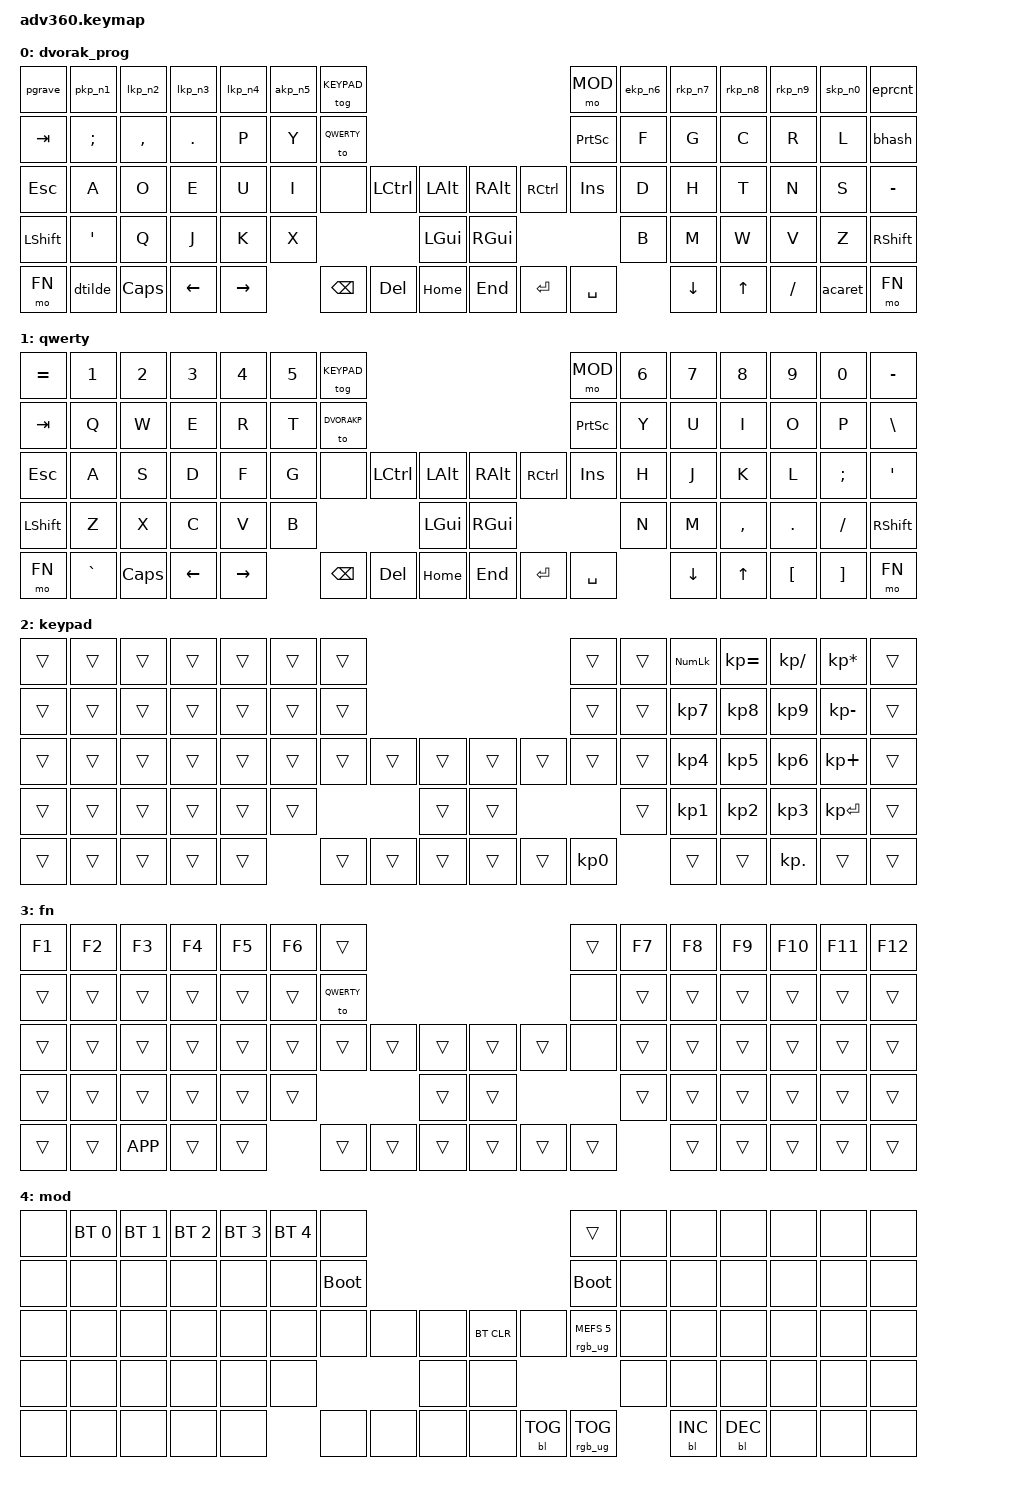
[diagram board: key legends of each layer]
#include <behaviors.dtsi>
#include <dt-bindings/zmk/keys.h>
#include <dt-bindings/zmk/bt.h>
#include <dt-bindings/zmk/rgb.h>
#include <dt-bindings/zmk/stp.h>
#include <dt-bindings/zmk/backlight.h>
#include <dt-bindings/zmk/pointing.h>

#define ______ &trans
#define xxxxxx &none

#define DVORAKP 0
#define QWERTY 1
#define KEYPAD 2
#define FN 3
#define MOD 4

/ {
    behaviors {
        #include "macros.dtsi"
        #include "version.dtsi"

        gpipe: grave_pipe {
            compatible = "zmk,behavior-mod-morph";
            label = "grave_pipe";
            #binding-cells = <0>;
            bindings = <&kp GRAVE>, <&kp PIPE>;
            mods = <(MOD_LGUI|MOD_LSFT|MOD_RGUI|MOD_RSFT)>;
        };
        pkp_n1: plus_kp_n1 {
            compatible = "zmk,behavior-mod-morph";
            label = "plus_kp_n1";
            #binding-cells = <0>;
            bindings = <&kp N1>, <&kp PLUS>;
            mods = <(MOD_LSFT|MOD_RSFT)>;
        };
        lkp_n2: left_bracket_kp_n2 {
            compatible = "zmk,behavior-mod-morph";
            label = "left_bracket_kp_n2";
            #binding-cells = <0>;
            bindings = <&kp N2>, <&kp LEFT_BRACKET>;
            mods = <(MOD_LSFT|MOD_RSFT)>;
        };
        lkp_n3: left_brace_kp_n3 {
            compatible = "zmk,behavior-mod-morph";
            label = "left_brace_kp_n3";
            #binding-cells = <0>;
            bindings =  <&kp N3>, <&kp LEFT_BRACE>;
            mods = <(MOD_LSFT|MOD_RSFT)>;
        };
        lkp_n4: left_parenthesis_kp_n4 {
            compatible = "zmk,behavior-mod-morph";
            label = "left_parenthesis_kp_n4";
            #binding-cells = <0>;
            bindings =  <&kp N4>, <&kp LEFT_PARENTHESIS>;
            mods = <(MOD_LSFT|MOD_RSFT)>;
        };
        akp_n5: amps_kp_n5 {
            compatible = "zmk,behavior-mod-morph";
            label = "amps_kp_n5";
            #binding-cells = <0>;
            bindings =  <&kp N5>, <&kp AMPS>;
            mods = <(MOD_LSFT|MOD_RSFT)>;
        };
        ekp_n6: equal_kp_n6 {
            compatible = "zmk,behavior-mod-morph";
            label = "equal_kp_n6";
            #binding-cells = <0>;
            bindings =  <&kp N6>, <&kp EQUAL>;
            mods = <(MOD_LSFT|MOD_RSFT)>;
        };
        rkp_n7: right_parenthesis_kp_n7 {
            compatible = "zmk,behavior-mod-morph";
            label = "right_parenthesis_kp_n7";
            #binding-cells = <0>;
            bindings = <&kp N7>, <&kp RIGHT_PARENTHESIS>;
            mods = <(MOD_LSFT|MOD_RSFT)>;
        };
        rkp_n8: right_brace_kp_n8 {
            compatible = "zmk,behavior-mod-morph";
            label = "right_brace_kp_n8";
            #binding-cells = <0>;
            bindings = <&kp N8>, <&kp RIGHT_BRACE>;
            mods = <(MOD_LSFT|MOD_RSFT)>;
        };
        rkp_n9: right_bracket_kp_n9 {
            compatible = "zmk,behavior-mod-morph";
            label = "right_bracket_kp_n9";
            #binding-cells = <0>;
            bindings = <&kp N9>, <&kp RIGHT_BRACKET>;
            mods = <(MOD_LSFT|MOD_RSFT)>;
        };
        skp_n0: star_kp_n0 {
            compatible = "zmk,behavior-mod-morph";
            label = "star_kp_n0";
            #binding-cells = <0>;
            bindings = <&kp N0>, <&kp STAR>;
            mods = <(MOD_LSFT|MOD_RSFT)>;
        };
        eprcnt: excl_prcnt {
            compatible = "zmk,behavior-mod-morph";
            label = "excl_prcnt";
            #binding-cells = <0>;
            bindings = <&kp EXCL>, <&kp PRCNT>;
            mods = <(MOD_LGUI|MOD_LSFT|MOD_RGUI|MOD_RSFT)>;
        };
        dgrave: dllr_grave {
            compatible = "zmk,behavior-mod-morph";
            label = "dllr_grave";
            #binding-cells = <0>;
            bindings = <&kp DLLR>, <&kp GRAVE>;
            mods = <(MOD_LGUI|MOD_LSFT|MOD_RGUI|MOD_RSFT)>;
        };
        dtilde: dllr_tilde {
            compatible = "zmk,behavior-mod-morph";
            label = "dllr_tilde";
            #binding-cells = <0>;
            bindings = <&kp DLLR>, <&kp TILDE>;
            mods = <(MOD_LGUI|MOD_LSFT|MOD_RGUI|MOD_RSFT)>;
        };
        ggrave: grave_grave {
            compatible = "zmk,behavior-mod-morph";
            label = "grave_grave";
            #binding-cells = <0>;
            bindings = <&kp GRAVE>, <&kp GRAVE>;
            mods = <(MOD_LGUI|MOD_LSFT|MOD_RGUI|MOD_RSFT)>;
        };
        pgrave: pipe_grave {
            compatible = "zmk,behavior-mod-morph";
            label = "pipe_grave";
            #binding-cells = <0>;
            bindings = <&kp PIPE>, <&kp GRAVE>;
            mods = <(MOD_LGUI|MOD_LSFT|MOD_RGUI|MOD_RSFT)>;
        };
        bhash: bslh_hash {
            compatible = "zmk,behavior-mod-morph";
            label = "bslh_hash";
            #binding-cells = <0>;
            bindings = <&kp BSLH>, <&kp HASH>;
            mods = <(MOD_LGUI|MOD_LSFT|MOD_RGUI|MOD_RSFT)>;
        };
        acaret: at_caret {
            compatible = "zmk,behavior-mod-morph";
            label = "at_caret";
            #binding-cells = <0>;
            bindings = <&kp AT>, <&kp CARET>;
            mods = <(MOD_LGUI|MOD_LSFT|MOD_RGUI|MOD_RSFT)>;
        };
    };

    keymap {
        compatible = "zmk,keymap";

        dvorak_prog {
            bindings = <
                &pgrave   &pkp_n1       &lkp_n2       &lkp_n3        &lkp_n4        &akp_n5       &tog KEYPAD                                                  &mo MOD     &ekp_n6   &rkp_n7        &rkp_n8        &rkp_n9       &skp_n0       &eprcnt
                &kp TAB   &kp SEMI      &kp COMMA     &kp DOT        &kp P          &kp Y         &to QWERTY                                                   &kp PSCRN   &kp F     &kp G          &kp C          &kp R         &kp L         &bhash
                &kp ESC   &kp A         &kp O         &kp E          &kp U          &kp I         xxxxxx       &kp LCTRL  &kp LALT      &kp RALT   &kp RCTRL   &kp INS     &kp D     &kp H          &kp T          &kp N         &kp S         &kp MINUS
                &kp LSHFT &kp SQT       &kp Q         &kp J          &kp K          &kp X                                 &kp LGUI      &kp RGUI                           &kp B     &kp M          &kp W          &kp V         &kp Z         &kp RSHFT
                &mo FN    &dtilde       &kp CAPS      &kp LEFT       &kp RIGHT                    &kp BSPC     &kp DEL    &kp HOME      &kp END    &kp ENTER   &kp SPACE             &kp DOWN       &kp UP         &kp FSLH      &acaret       &mo FN
            >;
        };

        qwerty {
            bindings = <
                &kp EQUAL  &kp N1       &kp N2        &kp N3         &kp N4         &kp N5        &tog KEYPAD                                                  &mo MOD     &kp N6    &kp N7         &kp N8         &kp N9        &kp N0           &kp MINUS
                &kp TAB    &kp Q        &kp W         &kp E          &kp R          &kp T         &to DVORAKP                                                  &kp PSCRN   &kp Y     &kp U          &kp I          &kp O         &kp P            &kp BSLH
                &kp ESC    &kp A        &kp S         &kp D          &kp F          &kp G         xxxxxx       &kp LCTRL  &kp LALT      &kp RALT   &kp RCTRL   &kp INS     &kp H     &kp J          &kp K          &kp L         &kp SEMI         &kp SQT
                &kp LSHFT  &kp Z        &kp X         &kp C          &kp V          &kp B                                 &kp LGUI      &kp RGUI                           &kp N     &kp M          &kp COMMA      &kp DOT       &kp FSLH         &kp RSHFT
                &mo FN     &kp GRAVE    &kp CAPS      &kp LEFT       &kp RIGHT                    &kp BSPC     &kp DEL    &kp HOME      &kp END    &kp ENTER   &kp SPACE             &kp DOWN       &kp UP         &kp LBKT      &kp RBKT         &mo FN
            >; 
        };

        keypad {
            bindings = <
                ______  ______  ______  ______  ______  ______  ______                                      ______     ______  &kp KP_NUM  &kp KP_EQUAL  &kp KP_DIVIDE  &kp KP_MULTIPLY  ______
                ______  ______  ______  ______  ______  ______  ______                                      ______     ______  &kp KP_N7   &kp KP_N8     &kp KP_N9      &kp KP_MINUS     ______
                ______  ______  ______  ______  ______  ______  ______  ______  ______      ______  ______  ______     ______  &kp KP_N4   &kp KP_N5     &kp KP_N6      &kp KP_PLUS      ______
                ______  ______  ______  ______  ______  ______                  ______      ______                     ______  &kp KP_N1   &kp KP_N2     &kp KP_N3      &kp KP_ENTER     ______
                ______  ______  ______  ______  ______          ______  ______  ______      ______  ______  &kp KP_N0          ______      ______        &kp KP_DOT     ______           ______
            >;
        };

        fn {
            bindings = <
                &kp F1  &kp F2  &kp F3     &kp F4  &kp F5  &kp F6  ______                                           ______  &kp F7  &kp F8  &kp F9  &kp F10  &kp F11  &kp F12
                ______  ______  ______     ______  ______  ______  &to QWERTY                                       xxxxxx  ______  ______  ______  ______   ______   ______
                ______  ______  ______     ______  ______  ______  ______       ______  ______      ______  ______  xxxxxx  ______  ______  ______  ______   ______   ______
                ______  ______  ______     ______  ______  ______                       ______      ______                  ______  ______  ______  ______   ______   ______
                ______  ______  &kp K_APP  ______  ______          ______       ______  ______      ______  ______  ______          ______  ______  ______   ______   ______
            >;
        };

        mod {
            bindings = <
                xxxxxx  &bt BT_SEL 0  &bt BT_SEL 1  &bt BT_SEL 2  &bt BT_SEL 3  &bt BT_SEL 4  xxxxxx                                                  ______                  xxxxxx  xxxxxx      xxxxxx      xxxxxx  xxxxxx  xxxxxx
                xxxxxx  xxxxxx        xxxxxx        xxxxxx        xxxxxx        xxxxxx        &bootloader                                             &bootloader             xxxxxx  xxxxxx      xxxxxx      xxxxxx  xxxxxx  xxxxxx
                xxxxxx  xxxxxx        xxxxxx        xxxxxx        xxxxxx        xxxxxx        xxxxxx       xxxxxx  xxxxxx     &bt BT_CLR  xxxxxx      &rgb_ug RGB_MEFS_CMD 5  xxxxxx  xxxxxx      xxxxxx      xxxxxx  xxxxxx  xxxxxx
                xxxxxx  xxxxxx        xxxxxx        xxxxxx        xxxxxx        xxxxxx                             xxxxxx     xxxxxx                                          xxxxxx  xxxxxx      xxxxxx      xxxxxx  xxxxxx  xxxxxx
                xxxxxx  xxxxxx        xxxxxx        xxxxxx        xxxxxx                      xxxxxx       xxxxxx  xxxxxx     xxxxxx      &bl BL_TOG  &rgb_ug RGB_TOG                 &bl BL_INC  &bl BL_DEC  xxxxxx  xxxxxx  xxxxxx
            >;
        };
    };
};
